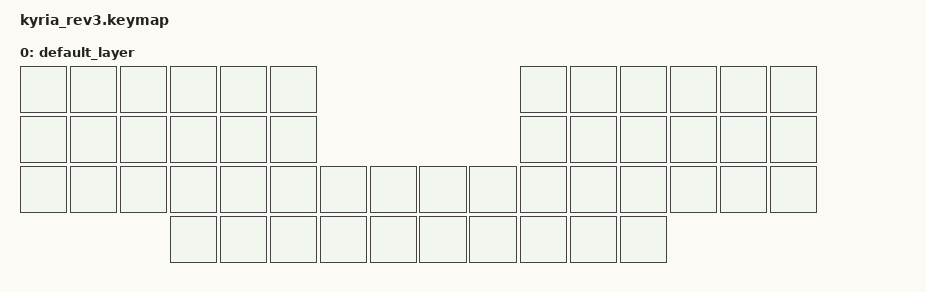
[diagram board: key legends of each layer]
/*
 * Copyright (c) 2020 The ZMK Contributors
 *
 * SPDX-License-Identifier: MIT
 */

#include <behaviors.dtsi>
#include <dt-bindings/zmk/bt.h>
#include <dt-bindings/zmk/keys.h>
#include <dt-bindings/zmk/outputs.h>

// CONFIG
#define COMBO_TIMEOUT 200
#define COMBO_LAYERS 0
#define STICKY_TIMEOUT 500

// LEFT SIDE
#define TLI 16 // TOP
#define TLM 15 // TOP
#define TLR 14 // TOP
#define TLP 13 // TOP
#define BLI 28 // BOTTOM
#define BLM 27 // BOTTOM
#define BLR 26 // BOTTOM
#define BLP 25 // BOTTOM
#define LOT 43 // O-THUMB
#define LIT 44 // I-THUMB

// RIGHT SIDE
#define TRI 19 // TOP
#define TRM 20 // TOP
#define TRR 21 // TOP
#define TRP 22 // TOP
#define BRI 35 // BOTTOM
#define BRM 36 // BOTTOM
#define BRR 37 // BOTTOM
#define BRP 38 // BOTTOM
#define ROT 46 // O-THUMB
#define RIT 45 // I-THUMB

&sk {
    release-after-ms = <STICKY_TIMEOUT>;
    quick-release;
};

/ {
  combos {
    compatible = "zmk,combos";
    #include "taipo.dtsi"
  };

  keymap {
    compatible = "zmk,keymap";

    default_layer {
      bindings = <
        &none    &none    &none    &none     &none    &none                                         &none    &none    &none    &none    &none    &none
        &none    &none    &none    &none     &none    &none                                         &none    &none    &none    &none    &none    &none
        &none    &none    &none    &none     &none    &none    &none    &none     &none    &none    &none    &none    &none    &none    &none    &none
                                   &none     &none    &none    &none    &none     &none    &none    &none    &none    &none
      >;
    };
  };
};
